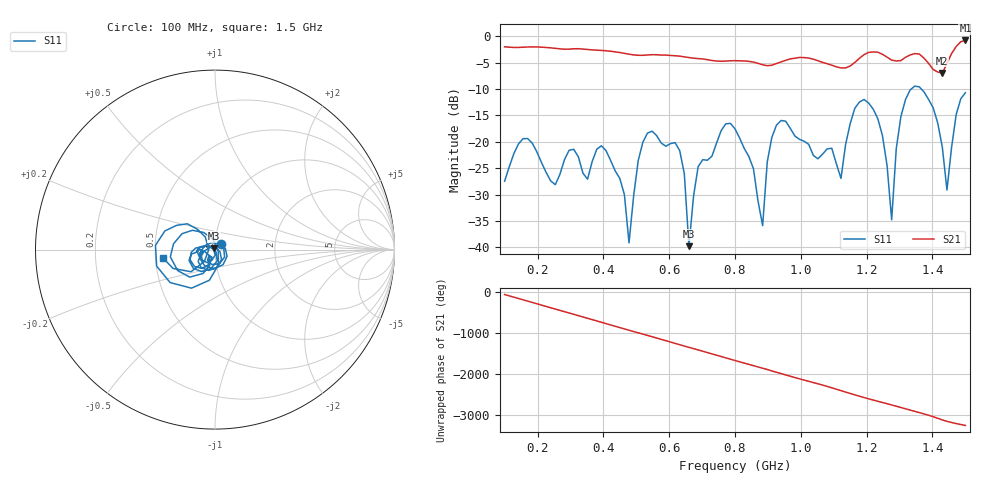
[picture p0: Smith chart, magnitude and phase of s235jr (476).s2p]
! NanoVNA-App
! Date: 2025-09-25 15:07:52
! Start: 100MHz Stop: 1,5GHz Points: 101
! S-Parameter data: F S11 S21 S12 S22
# Hz S RI R 50
!  Frequency  S11_Real  S11_Imag  S21_Real  S21_Imag  S12_Real  S12_Imag  S22_Real  S22_Imag
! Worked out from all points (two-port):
!   101 points, 100 MHz to 1.5 GHz, reference 50 ohm
!   highest |S21| = -0.76 dB at 1.5 GHz (marker M1); lowest = -6.9 dB at 1.43 GHz (marker M2)
!   |S21| within 3 dB of the highest: start of sweep to 634.5 MHz; 1.186 GHz to 1.258 GHz (71.76 MHz wide, 5.87 % of centre)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
!   lowest |S11| = -39.8 dB at 660 MHz (marker M3), VSWR 1.02, Z = 49.2 + j0.607 ohm
!   |S11| at or under -10 dB: start of sweep to 1.335 GHz; 1.366 GHz to end of sweep
!   S12 and S22 are empty: the file has one direction only
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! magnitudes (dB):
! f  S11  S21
! 100 MHz  -27.5  -2.0
! 156 MHz  -19.4  -2.0
! 338 MHz  -25.9  -2.4
! 408 MHz  -21.6  -2.7
! 478 MHz  -39.2  -3.4
! 520 MHz  -20.1  -3.6
! 576 MHz  -20.2  -3.5
! 632 MHz  -21.7  -3.7
! 660 MHz  -39.8  -4.0
! 688 MHz  -24.7  -4.2
! 800 MHz  -17.5  -4.6
! 884 MHz  -35.9  -5.4
! 926 MHz  -16.8  -5.1
! 1.038 GHz  -22.6  -4.3
! 1.122 GHz  -26.9  -6.0
! 1.206 GHz  -12.6  -3.0
! 1.276 GHz  -34.8  -4.5
! 1.29 GHz  -21.3  -4.7
! 1.332 GHz  -10.2  -3.5
! 1.43 GHz  -21.1  -6.9
! 1.444 GHz  -29.1  -5.1
! 1.5 GHz  -10.7  -0.8
